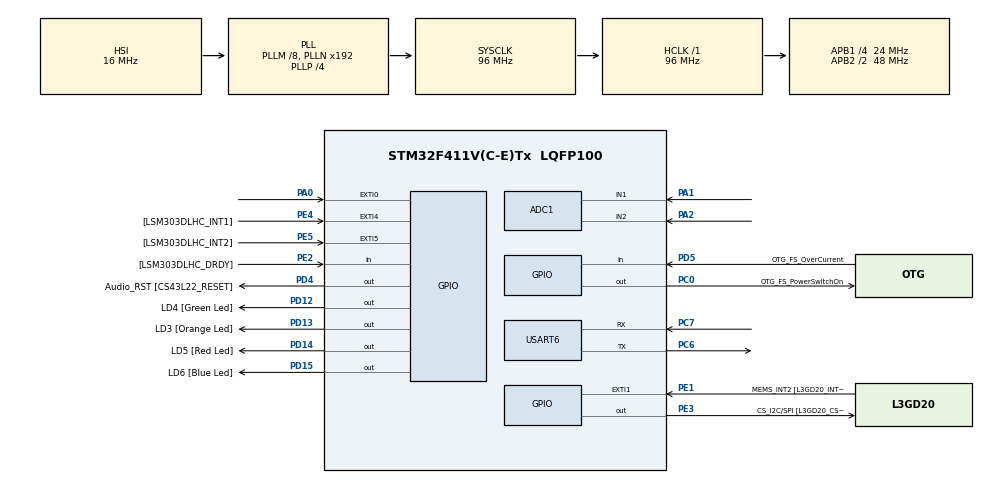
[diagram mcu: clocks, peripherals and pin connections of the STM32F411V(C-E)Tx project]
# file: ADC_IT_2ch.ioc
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ADC1.Channel-0\#ChannelRegularConversion=ADC_CHANNEL_1
ADC1.Channel-1\#ChannelRegularConversion=ADC_CHANNEL_2
ADC1.NbrOfConversion=2
ADC1.NbrOfConversionFlag=1
ADC1.Rank-0\#ChannelRegularConversion=1
ADC1.Rank-1\#ChannelRegularConversion=2
ADC1.SamplingTime-0\#ChannelRegularConversion=ADC_SAMPLETIME_144CYCLES
ADC1.SamplingTime-1\#ChannelRegularConversion=ADC_SAMPLETIME_144CYCLES
ADC1.ScanConvMode=ENABLE
ADC1.master=1
Mcu.Family=STM32F4
Mcu.Name=STM32F411V(C-E)Tx
Mcu.Package=LQFP100
NVIC.ADC_IRQn=true\:0\:0\:false
NVIC.PriorityGroup=NVIC_PRIORITYGROUP_0
PA0-WKUP.GPIO_ModeDefaultEXTI=GPIO_MODE_EVT_RISING
PA0-WKUP.Signal=GPXTI0
PA1.Signal=ADCx_IN1
PA10.GPIO_Label=OTG_FS_ID
PA10.Signal=USB_OTG_FS_ID
PA11.GPIO_Label=OTG_FS_DM
PA11.Signal=USB_OTG_FS_DM
PA12.GPIO_Label=OTG_FS_DP
PA12.Signal=USB_OTG_FS_DP
PA13.GPIO_Label=SWDIO
PA13.Signal=SYS_JTMS-SWDIO
PA14.GPIO_Label=SWCLK
PA14.Signal=SYS_JTCK-SWCLK
PA2.Signal=ADCx_IN2
PA4.GPIO_Label=I2S3_WS [CS43L22_LRCK]
PA4.GPIO_Mode=GPIO_MODE_AF_PP
PA4.GPIO_PuPd=GPIO_NOPULL
PA4.GPIO_Speed=GPIO_SPEED_LOW
PA4.Signal=I2S3_WS
PA5.GPIO_Label=SPI1_SCK [L3GD20_SC/SPC]
PA5.Signal=SPI1_SCK
PA6.GPIO_Label=SPI1_MISO [L3GD20_AS0/SDO]
PA6.Signal=SPI1_MISO
PA7.GPIO_Label=SPI1_MOSI [L3GD20_SDA/SDI/SDO]
PA7.Signal=SPI1_MOSI
PA9.GPIO_Label=VBUS_FS
PA9.Signal=USB_OTG_FS_VBUS
PB10.GPIO_Label=CLK_IN [MP45DT02_CLK]
PB10.Signal=I2S2_CK
PB12.Signal=I2S2_WS
PB3.GPIO_Label=SWO
PB3.Signal=SYS_JTDO-SWO
PB6.GPIO_Label=Audio_SCL [CS43L22_SCL]
PB6.GPIO_Mode=GPIO_MODE_AF_OD
PB6.GPIO_PuPd=GPIO_NOPULL
PB6.GPIO_Speed=GPIO_SPEED_LOW
PB6.Signal=I2C1_SCL
PB9.GPIO_Label=Audio_SDA [CS43L22_SDA]
PB9.GPIO_Mode=GPIO_MODE_AF_OD
PB9.GPIO_PuPd=GPIO_NOPULL
PB9.GPIO_Speed=GPIO_SPEED_LOW
PB9.Signal=I2C1_SDA
PC0.GPIO_Label=OTG_FS_PowerSwitchOn
PC0.Signal=GPIO_Output
PC10.GPIO_Label=I2S3_SCK [CS43L22_SCLK]
PC10.GPIO_Mode=GPIO_MODE_AF_PP
PC10.GPIO_PuPd=GPIO_NOPULL
PC10.GPIO_Speed=GPIO_SPEED_LOW
PC10.Signal=I2S3_CK
PC12.GPIO_Label=I2S3_SD [CS43L22_SDIN]
PC12.GPIO_Mode=GPIO_MODE_AF_PP
PC12.GPIO_PuPd=GPIO_NOPULL
PC12.GPIO_Speed=GPIO_SPEED_LOW
PC12.Signal=I2S3_SD
PC14-OSC32_IN.GPIO_Label=PC14-OSC32_IN
PC14-OSC32_IN.Signal=RCC_OSC32_IN
PC15-OSC32_OUT.GPIO_Label=PC15-OSC32_OUT
PC15-OSC32_OUT.Signal=RCC_OSC32_OUT
PC3.GPIO_Label=PDM_OUT [MP45DT02_DOUT]
PC3.Signal=I2S2_SD
PC6.Mode=Asynchronous
PC6.Signal=USART6_TX
PC7.Mode=Asynchronous
PC7.Signal=USART6_RX
PD12.GPIO_Label=LD4 [Green Led]
PD12.GPIO_PuPd=GPIO_NOPULL
PD12.GPIO_Speed=GPIO_SPEED_LOW
PD12.Signal=GPIO_Output
PD13.GPIO_Label=LD3 [Orange Led]
PD13.GPIO_PuPd=GPIO_NOPULL
PD13.GPIO_Speed=GPIO_SPEED_LOW
PD13.Signal=GPIO_Output
PD14.GPIO_Label=LD5 [Red Led]
PD14.GPIO_PuPd=GPIO_NOPULL
PD14.GPIO_Speed=GPIO_SPEED_LOW
PD14.Signal=GPIO_Output
PD15.GPIO_Label=LD6 [Blue Led]
PD15.GPIO_PuPd=GPIO_NOPULL
PD15.GPIO_Speed=GPIO_SPEED_LOW
PD15.Signal=GPIO_Output
PD4.GPIO_Label=Audio_RST [CS43L22_RESET]
PD4.Signal=GPIO_Output
PD5.GPIO_Label=OTG_FS_OverCurrent
PD5.Signal=GPIO_Input
PE1.GPIO_Label=MEMS_INT2 [L3GD20_INT2]
PE1.GPIO_ModeDefaultEXTI=GPIO_MODE_EVT_RISING
PE1.Signal=GPXTI1
PE2.GPIO_Label=[LSM303DLHC_DRDY]
PE2.Signal=GPIO_Input
PE3.GPIO_Label=CS_I2C/SPI [L3GD20_CS_I2C/SPI]
PE3.Signal=GPIO_Output
PE4.GPIO_Label=[LSM303DLHC_INT1]
PE4.GPIO_ModeDefaultEXTI=GPIO_MODE_EVT_RISING
PE4.Signal=GPXTI4
PE5.GPIO_Label=[LSM303DLHC_INT2]
PE5.GPIO_ModeDefaultEXTI=GPIO_MODE_EVT_RISING
PE5.Signal=GPXTI5
PH0\ -\ OSC_IN.GPIO_Label=PH0-OSC_IN
PH0\ -\ OSC_IN.Signal=RCC_OSC_IN
PH1\ -\ OSC_OUT.GPIO_Label=PH1-OSC_OUT
PH1\ -\ OSC_OUT.Signal=RCC_OSC_OUT
ProjectManager.HeapSize=0x400
ProjectManager.StackSize=0x200
ProjectManager.TargetToolchain=TrueSTUDIO
RCC.48MHZClocksFreq_Value=48000000
RCC.AHBFreq_Value=96000000
RCC.APB1CLKDivider=RCC_HCLK_DIV4
RCC.APB1Freq_Value=24000000
RCC.APB1TimFreq_Value=48000000
RCC.APB2CLKDivider=RCC_HCLK_DIV2
RCC.APB2Freq_Value=48000000
RCC.APB2TimFreq_Value=96000000
RCC.CortexFreq_Value=96000000
RCC.HCLKFreq_Value=96000000
RCC.HSE_VALUE=8000000
RCC.HSI_VALUE=16000000
RCC.LSE_VALUE=32768
RCC.PLLI2SM=5
RCC.PLLI2SN=200
RCC.PLLM=8
RCC.PLLP=RCC_PLLP_DIV4
RCC.PLLQ=8
RCC.SYSCLKFreq_VALUE=96000000
RCC.SYSCLKSource=RCC_SYSCLKSOURCE_PLLCLK
RCC.VCOOutputFreq_Value=384000000
SH.ADCx_IN1.0=ADC1_IN1,IN1
SH.ADCx_IN2.0=ADC1_IN2,IN2
board=STM32F411E-DISCO

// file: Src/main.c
/**
  ******************************************************************************
  * File Name          : main.c
  * Description        : Main program body
  ******************************************************************************
  *
  * COPYRIGHT(c) 2016 STMicroelectronics
  *
  * Redistribution and use in source and binary forms, with or without modification,
  * are permitted provided that the following conditions are met:
  *   1. Redistributions of source code must retain the above copyright notice,
  *      this list of conditions and the following disclaimer.
  *   2. Redistributions in binary form must reproduce the above copyright notice,
  *      this list of conditions and the following disclaimer in the documentation
  *      and/or other materials provided with the distribution.
  *   3. Neither the name of STMicroelectronics nor the names of its contributors
  *      may be used to endorse or promote products derived from this software
  *      without specific prior written permission.
  *
  * THIS SOFTWARE IS PROVIDED BY THE COPYRIGHT HOLDERS AND CONTRIBUTORS "AS IS"
  * AND ANY EXPRESS OR IMPLIED WARRANTIES, INCLUDING, BUT NOT LIMITED TO, THE
  * IMPLIED WARRANTIES OF MERCHANTABILITY AND FITNESS FOR A PARTICULAR PURPOSE ARE
  * DISCLAIMED. IN NO EVENT SHALL THE COPYRIGHT HOLDER OR CONTRIBUTORS BE LIABLE
  * FOR ANY DIRECT, INDIRECT, INCIDENTAL, SPECIAL, EXEMPLARY, OR CONSEQUENTIAL
  * DAMAGES (INCLUDING, BUT NOT LIMITED TO, PROCUREMENT OF SUBSTITUTE GOODS OR
  * SERVICES; LOSS OF USE, DATA, OR PROFITS; OR BUSINESS INTERRUPTION) HOWEVER
  * CAUSED AND ON ANY THEORY OF LIABILITY, WHETHER IN CONTRACT, STRICT LIABILITY,
  * OR TORT (INCLUDING NEGLIGENCE OR OTHERWISE) ARISING IN ANY WAY OUT OF THE USE
  * OF THIS SOFTWARE, EVEN IF ADVISED OF THE POSSIBILITY OF SUCH DAMAGE.
  *
  ******************************************************************************
  */
#include "stm32f4xx_hal.h"

/* USER CODE BEGIN Includes */
#include <string.h>
#include <stdio.h>
/* USER CODE END Includes */

ADC_HandleTypeDef hadc1;

UART_HandleTypeDef huart6;

/* USER CODE BEGIN PV */
/* Private variables ---------------------------------------------------------*/
#define ADC_BUFFER_LENGTH 30
uint32_t ADCBuffer[ADC_BUFFER_LENGTH]={0};
uint32_t EXTRAADCBuffer[ADC_BUFFER_LENGTH]={0};
uint16_t a1 = 0;
uint16_t a2 = 0;
uint16_t counter = 0;
/* USER CODE END PV */

void SystemClock_Config(void);
static void MX_GPIO_Init(void);
static void MX_ADC1_Init(void);
static void MX_USART6_UART_Init(void);

/* USER CODE BEGIN PFP */
/* Private function prototypes -----------------------------------------------*/

/* USER CODE END PFP */

/* USER CODE BEGIN 0 */
void Uart_transmit(uint32_t dma_buffer[])
{
	int i = 0;
	int count = 0;
	char buffer[50] = {"Empty.."};
	uint32_t twaalfbit = 65535;
	//int acht = 8;
	for(i=0; i<ADC_BUFFER_LENGTH;i++)
	{
		  if(i%2 ==0)
		  {

			  dma_buffer[i] &= twaalfbit;
			  //dma_buffer[i] = dma_buffer[i] >> acht;
			  sprintf(buffer,"pin a1: %05d   ",(int) dma_buffer[i]);
			  HAL_UART_Transmit(&huart6,(uint16_t*) buffer,strlen(buffer),HAL_MAX_DELAY);
			  count++;
		  }
		  else
		  {
			 // dma_buffer[i] &= twaalfbit;
			  sprintf(buffer,"pin a2: %05d   ",(int) dma_buffer[i]);
			  HAL_UART_Transmit(&huart6,(uint16_t*) buffer,strlen(buffer),HAL_MAX_DELAY);
			  count++;
		  }
		  HAL_UART_Transmit(&huart6,"\r\n",strlen("\r\n"),HAL_MAX_DELAY);
	}
	HAL_UART_Transmit(&huart6,"\r\n",strlen("\r\n"),HAL_MAX_DELAY);
}
//Zonder DMA
void ADC_IRQHandler(void)
{
	uint16_t value = 0;
		value = HAL_ADC_GetValue(&hadc1);
		if(counter % 2 == 0) {
				a1 = value;
				HAL_GPIO_WritePin(GPIOD,LD5_Pin,GPIO_PIN_SET); //RED
		} else {
				a2 = value;
				HAL_GPIO_WritePin(GPIOD,LD4_Pin,GPIO_PIN_SET); //YELLOW
		}
		counter++;
}
/* USER CODE END 0 */

int main(void)
{

  /* USER CODE BEGIN 1 */
	int teller=0;
  /* USER CODE END 1 */

  /* MCU Configuration----------------------------------------------------------*/

  /* Reset of all peripherals, Initializes the Flash interface and the Systick. */
  HAL_Init();

  /* Configure the system clock */
  SystemClock_Config();

  /* Initialize all configured peripherals */
  MX_GPIO_Init();
  MX_ADC1_Init();
  MX_USART6_UART_Init();

  /* Infinite loop */
  while (1)
  {

  /* USER CODE BEGIN 3 */
	  HAL_ADC_Start_IT(&hadc1);

	  //Zonder DMA (op interrupt)
	  char buffer[50] = {"Empty.."};
	  uint16_t val1;
	  uint16_t val2;
	  while(counter < 2)HAL_GPIO_WritePin(GPIOD,LD6_Pin,GPIO_PIN_SET);
	  HAL_GPIO_WritePin(GPIOD,LD6_Pin,GPIO_PIN_RESET);
	  if(counter>= 2) {
	          val1 = a1;
	          val2 = a2;
	  }
	  if(HAL_GPIO_ReadPin(GPIOA,GPIO_PIN_0))
	  {
	   HAL_Delay(500);
	   HAL_GPIO_WritePin(GPIOD,LD3_Pin,GPIO_PIN_SET);//GREEN

	   //zonder DMA Single Scan
	   sprintf(buffer,"pin a1: %05d   ",val1);
	   HAL_UART_Transmit(&huart6,(uint8_t*) buffer,strlen(buffer),HAL_MAX_DELAY);
	   sprintf(buffer,"pin a2: %05d   ",val2);
	   HAL_UART_Transmit(&huart6,(uint8_t*) buffer,strlen(buffer),HAL_MAX_DELAY);
	   HAL_UART_Transmit(&huart6,"\r\n",strlen("\r\n"),HAL_MAX_DELAY);
	  }
  }
  /* USER CODE END 3 */

}

/** System Clock Configuration
*/
void SystemClock_Config(void)
{

  RCC_OscInitTypeDef RCC_OscInitStruct;
  RCC_ClkInitTypeDef RCC_ClkInitStruct;

  __PWR_CLK_ENABLE();

  __HAL_PWR_VOLTAGESCALING_CONFIG(PWR_REGULATOR_VOLTAGE_SCALE1);

  RCC_OscInitStruct.OscillatorType = RCC_OSCILLATORTYPE_HSI;
  RCC_OscInitStruct.HSIState = RCC_HSI_ON;
  RCC_OscInitStruct.HSICalibrationValue = 16;
  RCC_OscInitStruct.PLL.PLLState = RCC_PLL_ON;
  RCC_OscInitStruct.PLL.PLLSource = RCC_PLLSOURCE_HSI;
  RCC_OscInitStruct.PLL.PLLM = 8;
  RCC_OscInitStruct.PLL.PLLN = 192;
  RCC_OscInitStruct.PLL.PLLP = RCC_PLLP_DIV4;
  RCC_OscInitStruct.PLL.PLLQ = 8;
  HAL_RCC_OscConfig(&RCC_OscInitStruct);

  RCC_ClkInitStruct.ClockType = RCC_CLOCKTYPE_HCLK|RCC_CLOCKTYPE_SYSCLK
                              |RCC_CLOCKTYPE_PCLK1|RCC_CLOCKTYPE_PCLK2;
  RCC_ClkInitStruct.SYSCLKSource = RCC_SYSCLKSOURCE_PLLCLK;
  RCC_ClkInitStruct.AHBCLKDivider = RCC_SYSCLK_DIV1;
  RCC_ClkInitStruct.APB1CLKDivider = RCC_HCLK_DIV4;
  RCC_ClkInitStruct.APB2CLKDivider = RCC_HCLK_DIV2;
  HAL_RCC_ClockConfig(&RCC_ClkInitStruct, FLASH_LATENCY_3);

  HAL_SYSTICK_Config(HAL_RCC_GetHCLKFreq()/1000);

  HAL_SYSTICK_CLKSourceConfig(SYSTICK_CLKSOURCE_HCLK);

  /* SysTick_IRQn interrupt configuration */
  HAL_NVIC_SetPriority(SysTick_IRQn, 0, 0);
}

/* ADC1 init function */
void MX_ADC1_Init(void)
{

  ADC_ChannelConfTypeDef sConfig;

    /**Configure the global features of the ADC (Clock, Resolution, Data Alignment and number of conversion)
    */
  hadc1.Instance = ADC1;
  hadc1.Init.ClockPrescaler = ADC_CLOCKPRESCALER_PCLK_DIV2;
  hadc1.Init.Resolution = ADC_RESOLUTION12b;
  hadc1.Init.ScanConvMode = ENABLE;
  hadc1.Init.ContinuousConvMode = DISABLE;
  hadc1.Init.DiscontinuousConvMode = DISABLE;
  hadc1.Init.ExternalTrigConvEdge = ADC_EXTERNALTRIGCONVEDGE_NONE;
  hadc1.Init.DataAlign = ADC_DATAALIGN_RIGHT;
  hadc1.Init.NbrOfConversion = 2;
  hadc1.Init.DMAContinuousRequests = DISABLE;
  hadc1.Init.EOCSelection = EOC_SINGLE_CONV;
  HAL_ADC_Init(&hadc1);

    /**Configure for the selected ADC regular channel its corresponding rank in the sequencer and its sample time.
    */
  sConfig.Channel = ADC_CHANNEL_1;
  sConfig.Rank = 1;
  sConfig.SamplingTime = ADC_SAMPLETIME_28CYCLES;
  HAL_ADC_ConfigChannel(&hadc1, &sConfig);

    /**Configure for the selected ADC regular channel its corresponding rank in the sequencer and its sample time.
    */
  sConfig.Channel = ADC_CHANNEL_2;
  sConfig.Rank = 2;
  HAL_ADC_ConfigChannel(&hadc1, &sConfig);

}

/* USART6 init function */
void MX_USART6_UART_Init(void)
{

  huart6.Instance = USART6;
  huart6.Init.BaudRate = 115200;
  huart6.Init.WordLength = UART_WORDLENGTH_8B;
  huart6.Init.StopBits = UART_STOPBITS_1;
  huart6.Init.Parity = UART_PARITY_NONE;
  huart6.Init.Mode = UART_MODE_TX_RX;
  huart6.Init.HwFlowCtl = UART_HWCONTROL_NONE;
  huart6.Init.OverSampling = UART_OVERSAMPLING_16;
  HAL_UART_Init(&huart6);

}

/** Configure pins as
        * Analog
        * Input
        * Output
        * EVENT_OUT
        * EXTI
     PC3   ------> I2S2_SD
     PA4   ------> I2S3_WS
     PA5   ------> SPI1_SCK
     PA6   ------> SPI1_MISO
     PA7   ------> SPI1_MOSI
     PB10   ------> I2S2_CK
     PB12   ------> I2S2_WS
     PA9   ------> USB_OTG_FS_VBUS
     PA10   ------> USB_OTG_FS_ID
     PA11   ------> USB_OTG_FS_DM
     PA12   ------> USB_OTG_FS_DP
     PC10   ------> I2S3_CK
     PC12   ------> I2S3_SD
     PB6   ------> I2C1_SCL
     PB9   ------> I2C1_SDA
*/
void MX_GPIO_Init(void)
{

  GPIO_InitTypeDef GPIO_InitStruct;

  /* GPIO Ports Clock Enable */
  __GPIOE_CLK_ENABLE();
  __GPIOC_CLK_ENABLE();
  __GPIOH_CLK_ENABLE();
  __GPIOA_CLK_ENABLE();
  __GPIOB_CLK_ENABLE();
  __GPIOD_CLK_ENABLE();

  /*Configure GPIO pin : PE2 */
  GPIO_InitStruct.Pin = GPIO_PIN_2;
  GPIO_InitStruct.Mode = GPIO_MODE_INPUT;
  GPIO_InitStruct.Pull = GPIO_NOPULL;
  HAL_GPIO_Init(GPIOE, &GPIO_InitStruct);

  /*Configure GPIO pin : CS_I2C_SPI_Pin */
  GPIO_InitStruct.Pin = CS_I2C_SPI_Pin;
  GPIO_InitStruct.Mode = GPIO_MODE_OUTPUT_PP;
  GPIO_InitStruct.Pull = GPIO_NOPULL;
  GPIO_InitStruct.Speed = GPIO_SPEED_LOW;
  HAL_GPIO_Init(CS_I2C_SPI_GPIO_Port, &GPIO_InitStruct);

  /*Configure GPIO pins : PE4 PE5 MEMS_INT2_Pin */
  GPIO_InitStruct.Pin = GPIO_PIN_4|GPIO_PIN_5|MEMS_INT2_Pin;
  GPIO_InitStruct.Mode = GPIO_MODE_EVT_RISING;
  GPIO_InitStruct.Pull = GPIO_NOPULL;
  HAL_GPIO_Init(GPIOE, &GPIO_InitStruct);

  /*Configure GPIO pin : OTG_FS_PowerSwitchOn_Pin */
  GPIO_InitStruct.Pin = OTG_FS_PowerSwitchOn_Pin;
  GPIO_InitStruct.Mode = GPIO_MODE_OUTPUT_PP;
  GPIO_InitStruct.Pull = GPIO_NOPULL;
  GPIO_InitStruct.Speed = GPIO_SPEED_LOW;
  HAL_GPIO_Init(OTG_FS_PowerSwitchOn_GPIO_Port, &GPIO_InitStruct);

  /*Configure GPIO pin : PDM_OUT_Pin */
  GPIO_InitStruct.Pin = PDM_OUT_Pin;
  GPIO_InitStruct.Mode = GPIO_MODE_AF_PP;
  GPIO_InitStruct.Pull = GPIO_NOPULL;
  GPIO_InitStruct.Speed = GPIO_SPEED_LOW;
  GPIO_InitStruct.Alternate = GPIO_AF5_SPI2;
  HAL_GPIO_Init(PDM_OUT_GPIO_Port, &GPIO_InitStruct);

  /*Configure GPIO pin : PA0 */
  GPIO_InitStruct.Pin = GPIO_PIN_0;
  GPIO_InitStruct.Mode = GPIO_MODE_EVT_RISING;
  GPIO_InitStruct.Pull = GPIO_NOPULL;
  HAL_GPIO_Init(GPIOA, &GPIO_InitStruct);

  /*Configure GPIO pin : PA4 */
  GPIO_InitStruct.Pin = GPIO_PIN_4;
  GPIO_InitStruct.Mode = GPIO_MODE_AF_PP;
  GPIO_InitStruct.Pull = GPIO_NOPULL;
  GPIO_InitStruct.Speed = GPIO_SPEED_LOW;
  GPIO_InitStruct.Alternate = GPIO_AF6_SPI3;
  HAL_GPIO_Init(GPIOA, &GPIO_InitStruct);

  /*Configure GPIO pins : PA5 PA6 PA7 */
  GPIO_InitStruct.Pin = GPIO_PIN_5|GPIO_PIN_6|GPIO_PIN_7;
  GPIO_InitStruct.Mode = GPIO_MODE_AF_PP;
  GPIO_InitStruct.Pull = GPIO_NOPULL;
  GPIO_InitStruct.Speed = GPIO_SPEED_HIGH;
  GPIO_InitStruct.Alternate = GPIO_AF5_SPI1;
  HAL_GPIO_Init(GPIOA, &GPIO_InitStruct);

  /*Configure GPIO pins : CLK_IN_Pin PB12 */
  GPIO_InitStruct.Pin = CLK_IN_Pin|GPIO_PIN_12;
  GPIO_InitStruct.Mode = GPIO_MODE_AF_PP;
  GPIO_InitStruct.Pull = GPIO_NOPULL;
  GPIO_InitStruct.Speed = GPIO_SPEED_LOW;
  GPIO_InitStruct.Alternate = GPIO_AF5_SPI2;
  HAL_GPIO_Init(GPIOB, &GPIO_InitStruct);

  /*Configure GPIO pins : LD4_Pin LD3_Pin LD5_Pin LD6_Pin
                           Audio_RST_Pin */
  GPIO_InitStruct.Pin = LD4_Pin|LD3_Pin|LD5_Pin|LD6_Pin
                          |Audio_RST_Pin;
  GPIO_InitStruct.Mode = GPIO_MODE_OUTPUT_PP;
  GPIO_InitStruct.Pull = GPIO_NOPULL;
  GPIO_InitStruct.Speed = GPIO_SPEED_LOW;
  HAL_GPIO_Init(GPIOD, &GPIO_InitStruct);

  /*Configure GPIO pin : VBUS_FS_Pin */
  GPIO_InitStruct.Pin = VBUS_FS_Pin;
  GPIO_InitStruct.Mode = GPIO_MODE_INPUT;
  GPIO_InitStruct.Pull = GPIO_NOPULL;
  HAL_GPIO_Init(VBUS_FS_GPIO_Port, &GPIO_InitStruct);

  /*Configure GPIO pins : OTG_FS_ID_Pin OTG_FS_DM_Pin OTG_FS_DP_Pin */
  GPIO_InitStruct.Pin = OTG_FS_ID_Pin|OTG_FS_DM_Pin|OTG_FS_DP_Pin;
  GPIO_InitStruct.Mode = GPIO_MODE_AF_PP;
  GPIO_InitStruct.Pull = GPIO_NOPULL;
  GPIO_InitStruct.Speed = GPIO_SPEED_HIGH;
  GPIO_InitStruct.Alternate = GPIO_AF10_OTG_FS;
  HAL_GPIO_Init(GPIOA, &GPIO_InitStruct);

  /*Configure GPIO pins : I2S3_SCK_Pin PC12 */
  GPIO_InitStruct.Pin = I2S3_SCK_Pin|GPIO_PIN_12;
  GPIO_InitStruct.Mode = GPIO_MODE_AF_PP;
  GPIO_InitStruct.Pull = GPIO_NOPULL;
  GPIO_InitStruct.Speed = GPIO_SPEED_LOW;
  GPIO_InitStruct.Alternate = GPIO_AF6_SPI3;
  HAL_GPIO_Init(GPIOC, &GPIO_InitStruct);

  /*Configure GPIO pin : OTG_FS_OverCurrent_Pin */
  GPIO_InitStruct.Pin = OTG_FS_OverCurrent_Pin;
  GPIO_InitStruct.Mode = GPIO_MODE_INPUT;
  GPIO_InitStruct.Pull = GPIO_NOPULL;
  HAL_GPIO_Init(OTG_FS_OverCurrent_GPIO_Port, &GPIO_InitStruct);

  /*Configure GPIO pins : Audio_SCL_Pin Audio_SDA_Pin */
  GPIO_InitStruct.Pin = Audio_SCL_Pin|Audio_SDA_Pin;
  GPIO_InitStruct.Mode = GPIO_MODE_AF_OD;
  GPIO_InitStruct.Pull = GPIO_PULLUP;
  GPIO_InitStruct.Speed = GPIO_SPEED_LOW;
  GPIO_InitStruct.Alternate = GPIO_AF4_I2C1;
  HAL_GPIO_Init(GPIOB, &GPIO_InitStruct);

  /*Configure GPIO pin Output Level */
  HAL_GPIO_WritePin(CS_I2C_SPI_GPIO_Port, CS_I2C_SPI_Pin, GPIO_PIN_RESET);

  /*Configure GPIO pin Output Level */
  HAL_GPIO_WritePin(OTG_FS_PowerSwitchOn_GPIO_Port, OTG_FS_PowerSwitchOn_Pin, GPIO_PIN_RESET);

  /*Configure GPIO pin Output Level */
  HAL_GPIO_WritePin(GPIOD, LD4_Pin|LD3_Pin|LD5_Pin|LD6_Pin
                          |Audio_RST_Pin, GPIO_PIN_RESET);

}

/************************ (C) COPYRIGHT STMicroelectronics *****END OF FILE****/
